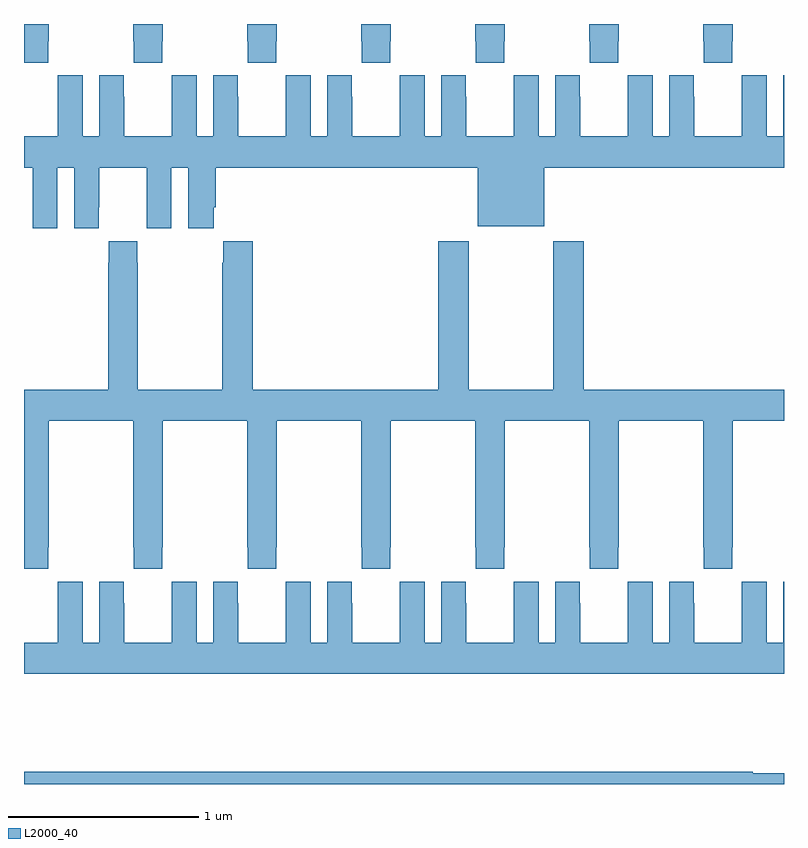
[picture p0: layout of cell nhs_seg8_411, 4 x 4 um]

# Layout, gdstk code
import gdstk
lib = gdstk.Library(unit=1e-6, precision=1e-09)
def P(c, l, *ps):  # polygons
    for p in ps: c.add(gdstk.Polygon(p, *l))
L2000_40 = (2000, 40)

nhs_seg8_411 = lib.new_cell('nhs_seg8_411')
P(nhs_seg8_411, L2000_40, [(137.727,1139.809),(137.73,1139.809),(137.73,1139.9),(137.575,1139.9),(137.575,1139.809),(137.577,1139.809),(137.577,1139.697),(137.727,1139.697)],
  [(138.327,1139.809),(138.33,1139.809),(138.33,1139.9),(138.175,1139.9),(138.175,1139.809),(138.177,1139.809),(138.177,1139.697),(138.327,1139.697)],
  [(138.927,1139.809),(138.93,1139.809),(138.93,1139.9),(138.775,1139.9),(138.775,1139.809),(138.777,1139.809),(138.777,1139.697),(138.927,1139.697)],
  [(139.527,1139.809),(139.53,1139.809),(139.53,1139.9),(139.375,1139.9),(139.375,1139.809),(139.377,1139.809),(139.377,1139.697),(139.527,1139.697)],
  [(140.127,1139.809),(140.13,1139.809),(140.13,1139.9),(139.975,1139.9),(139.975,1139.809),(139.977,1139.809),(139.977,1139.697),(140.127,1139.697)],
  [(140.727,1139.809),(140.73,1139.809),(140.73,1139.9),(140.575,1139.9),(140.575,1139.809),(140.577,1139.809),(140.577,1139.697),(140.727,1139.697)],
  [(137.127,1139.809),(137.13,1139.809),(137.13,1139.9),(137,1139.9),(137,1139.697),(137.127,1139.697)],
  [(139.388,1138.835),(139.738,1138.835),(139.738,1139.144),(141,1139.144),(141,1139.629),(140.996,1139.629),(140.996,1139.308),(140.908,1139.308),(140.908,1139.629),(140.778,1139.629),(140.778,1139.516),(140.777,1139.516),(140.777,1139.308),(140.527,1139.308),(140.527,1139.516),(140.526,1139.516),(140.526,1139.629),(140.396,1139.629),(140.396,1139.308),(140.308,1139.308),(140.308,1139.629),(140.178,1139.629),(140.178,1139.516),(140.177,1139.516),(140.177,1139.308),(139.927,1139.308),(139.927,1139.516),(139.926,1139.516),(139.926,1139.629),(139.796,1139.629),(139.796,1139.308),(139.708,1139.308),(139.708,1139.629),(139.578,1139.629),(139.578,1139.516),(139.577,1139.516),(139.577,1139.308),(139.327,1139.308),(139.327,1139.516),(139.326,1139.516),(139.326,1139.629),(139.196,1139.629),(139.196,1139.308),(139.108,1139.308),(139.108,1139.629),(138.978,1139.629),(138.978,1139.516),(138.977,1139.516),(138.977,1139.308),(138.727,1139.308),(138.727,1139.516),(138.726,1139.516),(138.726,1139.629),(138.596,1139.629),(138.596,1139.308),(138.508,1139.308),(138.508,1139.629),(138.378,1139.629),(138.378,1139.516),(138.377,1139.516),(138.377,1139.308),(138.127,1139.308),(138.127,1139.516),(138.126,1139.516),(138.126,1139.629),(137.996,1139.629),(137.996,1139.308),(137.908,1139.308),(137.908,1139.629),(137.778,1139.629),(137.778,1139.516),(137.777,1139.516),(137.777,1139.308),(137.527,1139.308),(137.527,1139.516),(137.526,1139.516),(137.526,1139.629),(137.396,1139.629),(137.396,1139.308),(137.308,1139.308),(137.308,1139.629),(137.178,1139.629),(137.178,1139.516),(137.177,1139.516),(137.177,1139.308),(137,1139.308),(137,1139.144),(137.045,1139.144),(137.045,1138.936),(137.046,1138.936),(137.046,1138.824),(137.176,1138.824),(137.176,1139.144),(137.264,1139.144),(137.264,1138.824),(137.394,1138.824),(137.394,1138.936),(137.395,1138.936),(137.395,1139.144),(137.645,1139.144),(137.645,1138.936),(137.646,1138.936),(137.646,1138.824),(137.776,1138.824),(137.776,1139.144),(137.864,1139.144),(137.864,1138.824),(137.998,1138.824),(137.998,1138.936),(138.008,1138.936),(138.008,1139.144),(139.388,1139.144)],
  [(138.203,1138.756),(138.049,1138.756),(138.049,1138.643),(138.043,1138.643),(138.043,1137.976),(137.598,1137.976),(137.598,1138.643),(137.595,1138.643),(137.595,1138.756),(137.445,1138.756),(137.445,1138.643),(137.443,1138.643),(137.443,1137.976),(137,1137.976),(137,1137.033),(137.127,1137.033),(137.127,1137.145),(137.13,1137.145),(137.13,1137.812),(137.575,1137.812),(137.575,1137.145),(137.577,1137.145),(137.577,1137.033),(137.727,1137.033),(137.727,1137.145),(137.73,1137.145),(137.73,1137.812),(138.175,1137.812),(138.175,1137.145),(138.177,1137.145),(138.177,1137.033),(138.327,1137.033),(138.327,1137.145),(138.33,1137.145),(138.33,1137.812),(138.775,1137.812),(138.775,1137.145),(138.777,1137.145),(138.777,1137.033),(138.927,1137.033),(138.927,1137.145),(138.93,1137.145),(138.93,1137.812),(139.375,1137.812),(139.375,1137.145),(139.377,1137.145),(139.377,1137.033),(139.527,1137.033),(139.527,1137.145),(139.53,1137.145),(139.53,1137.812),(139.975,1137.812),(139.975,1137.145),(139.977,1137.145),(139.977,1137.033),(140.127,1137.033),(140.127,1137.145),(140.13,1137.145),(140.13,1137.812),(140.575,1137.812),(140.575,1137.145),(140.577,1137.145),(140.577,1137.033),(140.727,1137.033),(140.727,1137.145),(140.73,1137.145),(140.73,1137.812),(141,1137.812),(141,1137.976),(139.946,1137.976),(139.946,1138.756),(139.786,1138.756),(139.786,1137.976),(139.341,1137.976),(139.341,1138.756),(139.181,1138.756),(139.181,1137.976),(138.203,1137.976)],
  [(141,1136.965),(140.996,1136.965),(140.996,1136.644),(140.908,1136.644),(140.908,1136.965),(140.778,1136.965),(140.778,1136.852),(140.777,1136.852),(140.777,1136.644),(140.527,1136.644),(140.527,1136.852),(140.526,1136.852),(140.526,1136.965),(140.396,1136.965),(140.396,1136.644),(140.308,1136.644),(140.308,1136.965),(140.178,1136.965),(140.178,1136.852),(140.177,1136.852),(140.177,1136.644),(139.927,1136.644),(139.927,1136.852),(139.926,1136.852),(139.926,1136.965),(139.796,1136.965),(139.796,1136.644),(139.708,1136.644),(139.708,1136.965),(139.578,1136.965),(139.578,1136.852),(139.577,1136.852),(139.577,1136.644),(139.327,1136.644),(139.327,1136.852),(139.326,1136.852),(139.326,1136.965),(139.196,1136.965),(139.196,1136.644),(139.108,1136.644),(139.108,1136.965),(138.978,1136.965),(138.978,1136.852),(138.977,1136.852),(138.977,1136.644),(138.727,1136.644),(138.727,1136.852),(138.726,1136.852),(138.726,1136.965),(138.596,1136.965),(138.596,1136.644),(138.508,1136.644),(138.508,1136.965),(138.378,1136.965),(138.378,1136.852),(138.377,1136.852),(138.377,1136.644),(138.127,1136.644),(138.127,1136.852),(138.126,1136.852),(138.126,1136.965),(137.996,1136.965),(137.996,1136.644),(137.908,1136.644),(137.908,1136.965),(137.778,1136.965),(137.778,1136.852),(137.777,1136.852),(137.777,1136.644),(137.527,1136.644),(137.527,1136.852),(137.526,1136.852),(137.526,1136.965),(137.396,1136.965),(137.396,1136.644),(137.308,1136.644),(137.308,1136.965),(137.178,1136.965),(137.178,1136.852),(137.177,1136.852),(137.177,1136.644),(137,1136.644),(137,1136.48),(141,1136.48)],
  [(141,1135.957),(140.836,1135.957),(140.836,1135.964),(137,1135.964),(137,1135.9),(141,1135.9)])

lib.write_gds('nhs_seg8_411.gds')
